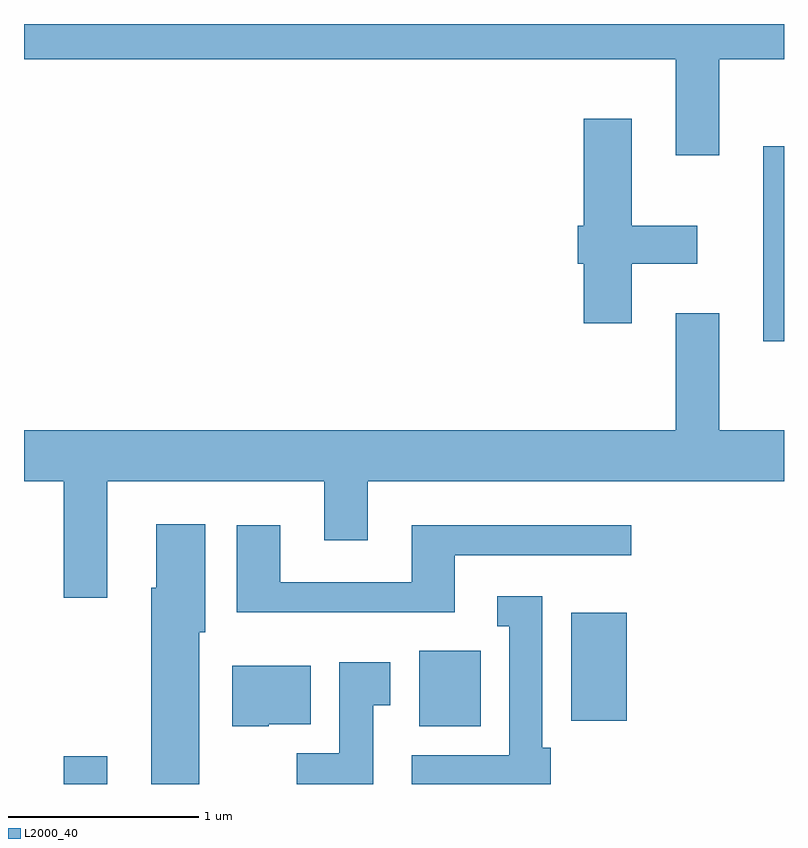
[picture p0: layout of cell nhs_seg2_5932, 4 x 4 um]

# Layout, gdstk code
import gdstk
lib = gdstk.Library(unit=1e-6, precision=1e-09)
def R(c, l, rs):  # rectangles x0, y0, x1, y1
    for r in rs: c.add(gdstk.rectangle(r[:2], r[2:], *l))
def P(c, l, *ps):  # polygons
    for p in ps: c.add(gdstk.Polygon(p, *l))
L2000_40 = (2000, 40)

nhs_seg2_5932 = lib.new_cell('nhs_seg2_5932')
R(nhs_seg2_5932, L2000_40, [(359.821,1077.802,360.049,1077.949), (361.691,1078.106,362.014,1078.504), (362.491,1078.136,362.784,1078.704), (363.501,1080.131,363.611,1081.159)])
P(nhs_seg2_5932, L2000_40, [(363.269,1081.616),(363.611,1081.616),(363.611,1081.802),(359.611,1081.802),(359.611,1081.616),(363.041,1081.616),(363.041,1081.111),(363.269,1081.111)],
  [(362.809,1080.541),(363.154,1080.541),(363.154,1080.739),(362.809,1080.739),(362.809,1081.304),(362.556,1081.304),(362.556,1080.739),(362.526,1080.739),(362.526,1080.541),(362.556,1080.541),(362.556,1080.226),(362.809,1080.226)],
  [(360.049,1079.396),(361.191,1079.396),(361.191,1079.086),(361.419,1079.086),(361.419,1079.396),(363.611,1079.396),(363.611,1079.664),(363.269,1079.664),(363.269,1080.279),(363.041,1080.279),(363.041,1079.664),(359.611,1079.664),(359.611,1079.396),(359.821,1079.396),(359.821,1078.781),(360.049,1078.781)],
  [(360.534,1078.601),(360.564,1078.601),(360.564,1079.169),(360.306,1079.169),(360.306,1078.834),(360.281,1078.834),(360.281,1077.802),(360.534,1077.802)],
  [(361.879,1079.006),(362.808,1079.006),(362.808,1079.164),(361.651,1079.164),(361.651,1078.864),(360.959,1078.864),(360.959,1079.164),(360.731,1079.164),(360.731,1078.706),(361.879,1078.706)],
  [(362.384,1077.994),(362.339,1077.994),(362.339,1078.789),(362.103,1078.789),(362.103,1078.631),(362.166,1078.631),(362.166,1077.954),(361.651,1077.954),(361.651,1077.802),(362.384,1077.802)],
  [(361.449,1078.216),(361.539,1078.216),(361.539,1078.444),(361.271,1078.444),(361.271,1077.964),(361.046,1077.964),(361.046,1077.802),(361.449,1077.802)],
  [(360.9,1078.116),(361.119,1078.116),(361.119,1078.424),(360.706,1078.424),(360.706,1078.106),(360.9,1078.106)])

lib.write_gds('nhs_seg2_5932.gds')
